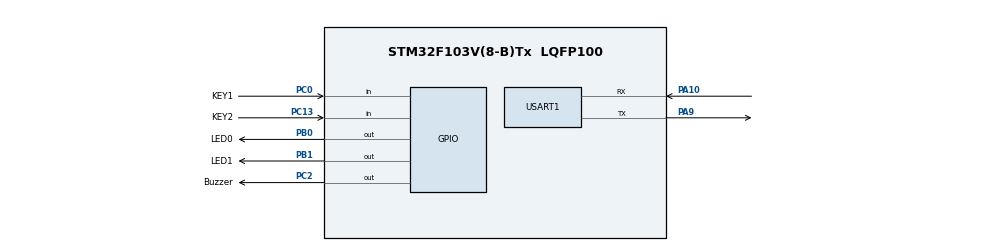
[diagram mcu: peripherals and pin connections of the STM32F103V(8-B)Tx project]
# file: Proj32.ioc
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Mcu.Family=STM32F1
Mcu.Name=STM32F103V(8-B)Tx
Mcu.Package=LQFP100
NVIC.PriorityGroup=NVIC_PRIORITYGROUP_4
NVIC.USART1_IRQn=true\:0\:0\:false\:false\:true\:true\:true
OSC_IN.Mode=HSE-External-Oscillator
OSC_IN.Signal=RCC_OSC_IN
OSC_OUT.Mode=HSE-External-Oscillator
OSC_OUT.Signal=RCC_OSC_OUT
PA10.Mode=Asynchronous
PA10.Signal=USART1_RX
PA13.Mode=Serial_Wire
PA13.Signal=SYS_JTMS-SWDIO
PA14.Mode=Serial_Wire
PA14.Signal=SYS_JTCK-SWCLK
PA9.Mode=Asynchronous
PA9.Signal=USART1_TX
PB0.GPIO_Label=LED0
PB0.GPIO_ModeDefaultOutputPP=GPIO_MODE_OUTPUT_PP
PB0.GPIO_PuPd=GPIO_PULLUP
PB0.GPIO_Speed=GPIO_SPEED_FREQ_HIGH
PB0.PinState=GPIO_PIN_SET
PB0.Signal=GPIO_Output
PB1.GPIO_Label=LED1
PB1.GPIO_PuPd=GPIO_PULLDOWN
PB1.GPIO_Speed=GPIO_SPEED_FREQ_HIGH
PB1.PinState=GPIO_PIN_SET
PB1.Signal=GPIO_Output
PC0.GPIO_Label=KEY1
PC0.GPIO_PuPd=GPIO_PULLDOWN
PC0.Signal=GPIO_Input
PC13-TAMPER-RTC.GPIO_Label=KEY2
PC13-TAMPER-RTC.GPIO_PuPd=GPIO_PULLDOWN
PC13-TAMPER-RTC.Signal=GPIO_Input
PC2.GPIO_Label=Buzzer
PC2.GPIO_PuPd=GPIO_PULLDOWN
PC2.GPIO_Speed=GPIO_SPEED_FREQ_HIGH
PC2.PinState=GPIO_PIN_SET
PC2.Signal=GPIO_Output
ProjectManager.HeapSize=0x200
ProjectManager.StackSize=0x400
ProjectManager.TargetToolchain=STM32CubeIDE
RCC.APB1Freq_Value=8000000
RCC.APB2Freq_Value=8000000
USART1.VirtualMode=VM_ASYNC
board=custom

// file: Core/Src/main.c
/* USER CODE BEGIN Header */
/**
  ******************************************************************************
  * @file           : main.c
  * @brief          : Main program body
  ******************************************************************************
  * @attention
  *
  * Copyright (c) 2021 STMicroelectronics.
  * All rights reserved.
  *
  * This software is licensed under terms that can be found in the LICENSE file
  * in the root directory of this software component.
  * If no LICENSE file comes with this software, it is provided AS-IS.
  *
  ******************************************************************************
  */
/* USER CODE END Header */
#include "main.h"
/* USER CODE BEGIN Includes */
#include "stdio.h"
/* USER CODE END Includes */

/* USER CODE BEGIN PTD */
uint8_t rx_buff[100];  //接收缓存
uint8_t rx_done = 0; //接收完成标志
uint8_t rx_cnt = 0;//接收数据长度
/* USER CODE END PTD */

UART_HandleTypeDef huart1;

void SystemClock_Config(void);
static void MX_GPIO_Init(void);
static void MX_USART1_UART_Init(void);

int main(void)
{

  /* MCU Configuration--------------------------------------------------------*/

  /* Reset of all peripherals, Initializes the Flash interface and the Systick. */
  HAL_Init();

  /* Configure the system clock */
  SystemClock_Config();

  /* Initialize all configured peripherals */
  MX_GPIO_Init();
  MX_USART1_UART_Init();

  /* Infinite loop */
  /* USER CODE BEGIN WHILE */
  while (1)
  {
      if(rx_done == 1)//判读是否接收完成
      {
          rx_done = 0;//清除接收标志
          //数据处理，打印接收长度、接收的数据
          printf("length of rx data: %d!\r\n",rx_cnt);
          for(int i = 0;i<rx_cnt;i++) printf("%c",rx_buff[i]);
          printf("\r\n");

          rx_cnt =0;//清除接收长度
      }
    /* USER CODE END WHILE */
  }
}

void SystemClock_Config(void)
{
  RCC_OscInitTypeDef RCC_OscInitStruct = {0};
  RCC_ClkInitTypeDef RCC_ClkInitStruct = {0};

  /** Initializes the RCC Oscillators according to the specified parameters
  * in the RCC_OscInitTypeDef structure.
  */
  RCC_OscInitStruct.OscillatorType = RCC_OSCILLATORTYPE_HSI;
  RCC_OscInitStruct.HSIState = RCC_HSI_ON;
  RCC_OscInitStruct.HSICalibrationValue = RCC_HSICALIBRATION_DEFAULT;
  RCC_OscInitStruct.PLL.PLLState = RCC_PLL_NONE;
  if (HAL_RCC_OscConfig(&RCC_OscInitStruct) != HAL_OK)
  {
    Error_Handler();
  }
  /** Initializes the CPU, AHB and APB buses clocks
  */
  RCC_ClkInitStruct.ClockType = RCC_CLOCKTYPE_HCLK|RCC_CLOCKTYPE_SYSCLK
                              |RCC_CLOCKTYPE_PCLK1|RCC_CLOCKTYPE_PCLK2;
  RCC_ClkInitStruct.SYSCLKSource = RCC_SYSCLKSOURCE_HSI;
  RCC_ClkInitStruct.AHBCLKDivider = RCC_SYSCLK_DIV1;
  RCC_ClkInitStruct.APB1CLKDivider = RCC_HCLK_DIV1;
  RCC_ClkInitStruct.APB2CLKDivider = RCC_HCLK_DIV1;

  if (HAL_RCC_ClockConfig(&RCC_ClkInitStruct, FLASH_LATENCY_0) != HAL_OK)
  {
    Error_Handler();
  }
}

static void MX_USART1_UART_Init(void)
{

  huart1.Instance = USART1;
  huart1.Init.BaudRate = 115200;
  huart1.Init.WordLength = UART_WORDLENGTH_8B;
  huart1.Init.StopBits = UART_STOPBITS_1;
  huart1.Init.Parity = UART_PARITY_NONE;
  huart1.Init.Mode = UART_MODE_TX_RX;
  huart1.Init.HwFlowCtl = UART_HWCONTROL_NONE;
  huart1.Init.OverSampling = UART_OVERSAMPLING_16;
  if (HAL_UART_Init(&huart1) != HAL_OK)
  {
    Error_Handler();
  }
  /* USER CODE BEGIN USART1_Init 2 */
  //开启接收中断，空闲中断
  __HAL_UART_ENABLE_IT(&huart1,UART_IT_IDLE|UART_IT_RXNE);
  /* USER CODE END USART1_Init 2 */
}

static void MX_GPIO_Init(void)
{
  GPIO_InitTypeDef GPIO_InitStruct = {0};

  /* GPIO Ports Clock Enable */
  __HAL_RCC_GPIOC_CLK_ENABLE();
  __HAL_RCC_GPIOB_CLK_ENABLE();
  __HAL_RCC_GPIOA_CLK_ENABLE();

  /*Configure GPIO pin Output Level */
  HAL_GPIO_WritePin(Buzzer_GPIO_Port, Buzzer_Pin, GPIO_PIN_SET);

  /*Configure GPIO pin Output Level */
  HAL_GPIO_WritePin(GPIOB, LED0_Pin|LED1_Pin, GPIO_PIN_SET);

  /*Configure GPIO pins : KEY2_Pin KEY1_Pin */
  GPIO_InitStruct.Pin = KEY2_Pin|KEY1_Pin;
  GPIO_InitStruct.Mode = GPIO_MODE_INPUT;
  GPIO_InitStruct.Pull = GPIO_PULLDOWN;
  HAL_GPIO_Init(GPIOC, &GPIO_InitStruct);

  /*Configure GPIO pin : Buzzer_Pin */
  GPIO_InitStruct.Pin = Buzzer_Pin;
  GPIO_InitStruct.Mode = GPIO_MODE_OUTPUT_PP;
  GPIO_InitStruct.Pull = GPIO_PULLDOWN;
  GPIO_InitStruct.Speed = GPIO_SPEED_FREQ_HIGH;
  HAL_GPIO_Init(Buzzer_GPIO_Port, &GPIO_InitStruct);

  /*Configure GPIO pin : LED0_Pin */
  GPIO_InitStruct.Pin = LED0_Pin;
  GPIO_InitStruct.Mode = GPIO_MODE_OUTPUT_PP;
  GPIO_InitStruct.Pull = GPIO_PULLUP;
  GPIO_InitStruct.Speed = GPIO_SPEED_FREQ_HIGH;
  HAL_GPIO_Init(LED0_GPIO_Port, &GPIO_InitStruct);

  /*Configure GPIO pin : LED1_Pin */
  GPIO_InitStruct.Pin = LED1_Pin;
  GPIO_InitStruct.Mode = GPIO_MODE_OUTPUT_PP;
  GPIO_InitStruct.Pull = GPIO_PULLDOWN;
  GPIO_InitStruct.Speed = GPIO_SPEED_FREQ_HIGH;
  HAL_GPIO_Init(LED1_GPIO_Port, &GPIO_InitStruct);

}

/* USER CODE BEGIN 4 */
#ifdef __GNUC__
#define PUTCHAR_PROTOTYPE int __io_putchar(int ch)
#else
#define PUTCHAR_PROTOTYPE int fputc(int ch. FILE *f)
#endif /* __GNUC__ */

//重定向printf函数
PUTCHAR_PROTOTYPE
{
    HAL_UART_Transmit(&huart1,(uint8_t *)&ch,1,0xFFFF);//输出指向串口USART1
    return ch;
}
/* USER CODE END 4 */

void Error_Handler(void)
{
  __disable_irq();
  while (1)
  {
  }
}
